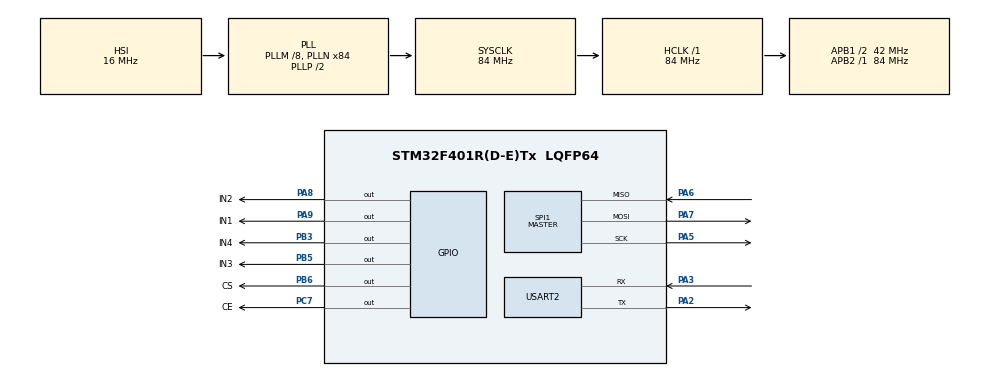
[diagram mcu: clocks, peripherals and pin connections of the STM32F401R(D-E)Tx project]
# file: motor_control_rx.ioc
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Mcu.Family=STM32F4
Mcu.Name=STM32F401R(D-E)Tx
Mcu.Package=LQFP64
NVIC.PriorityGroup=NVIC_PRIORITYGROUP_4
PA2.Mode=Asynchronous
PA2.Signal=USART2_TX
PA3.Mode=Asynchronous
PA3.Signal=USART2_RX
PA5.Mode=Full_Duplex_Master
PA5.Signal=SPI1_SCK
PA6.Mode=Full_Duplex_Master
PA6.Signal=SPI1_MISO
PA7.Mode=Full_Duplex_Master
PA7.Signal=SPI1_MOSI
PA8.GPIO_Label=IN2
PA8.Signal=GPIO_Output
PA9.GPIO_Label=IN1
PA9.Signal=GPIO_Output
PB3.GPIO_Label=IN4
PB3.Signal=GPIO_Output
PB5.GPIO_Label=IN3
PB5.Signal=GPIO_Output
PB6.GPIO_Label=CS
PB6.PinState=GPIO_PIN_SET
PB6.Signal=GPIO_Output
PC7.GPIO_Label=CE
PC7.Signal=GPIO_Output
ProjectManager.HeapSize=0x200
ProjectManager.StackSize=0x400
ProjectManager.TargetToolchain=STM32CubeIDE
RCC.48MHZClocksFreq_Value=42000000
RCC.AHBFreq_Value=84000000
RCC.APB1CLKDivider=RCC_HCLK_DIV2
RCC.APB1Freq_Value=42000000
RCC.APB1TimFreq_Value=84000000
RCC.APB2Freq_Value=84000000
RCC.APB2TimFreq_Value=84000000
RCC.CortexFreq_Value=84000000
RCC.HCLKFreq_Value=84000000
RCC.HSE_VALUE=25000000
RCC.HSI_VALUE=16000000
RCC.LSE_VALUE=32768
RCC.PLLM=8
RCC.PLLN=84
RCC.SYSCLKFreq_VALUE=84000000
RCC.SYSCLKSource=RCC_SYSCLKSOURCE_PLLCLK
RCC.VCOOutputFreq_Value=168000000
SPI1.BaudRatePrescaler=SPI_BAUDRATEPRESCALER_16
SPI1.Direction=SPI_DIRECTION_2LINES
SPI1.Mode=SPI_MODE_MASTER
SPI1.VirtualType=VM_MASTER
USART2.VirtualMode=VM_ASYNC
board=custom

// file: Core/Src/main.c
/* USER CODE BEGIN Header */
/**
  ******************************************************************************
  * @file           : main.c
  * @brief          : Main program body
  ******************************************************************************
  * @attention
  *
  * This program is setup to receive the joystick X and Y coordinates from the motor
  * control tx project. The coordinates will determine which direction(forward or reverse)
  * to set the motors in.
  *
  * Copyright (c) 2025 STMicroelectronics.
  * All rights reserved.
  *
  * This software is licensed under terms that can be found in the LICENSE file
  * in the root directory of this software component.
  * If no LICENSE file comes with this software, it is provided AS-IS.
  *
  ******************************************************************************
  */
/* USER CODE END Header */
#include "main.h"

/* USER CODE BEGIN Includes */
#include "../../../../lib/motor_control/NRF24L01.h"
#include "string.h"
#include "stdio.h"
/* USER CODE END Includes */

SPI_HandleTypeDef hspi1;

UART_HandleTypeDef huart2;

void SystemClock_Config(void);
static void MX_GPIO_Init(void);
static void MX_SPI1_Init(void);
static void MX_USART2_UART_Init(void);

/* USER CODE BEGIN 0 */

#define JOYSTICK_IN1_PORT GPIOA
#define JOYSTICK_IN1_PIN  GPIO_PIN_9
#define JOYSTICK_IN2_PORT GPIOA
#define JOYSTICK_IN2_PIN  GPIO_PIN_8
#define JOYSTICK_IN3_PORT GPIOB
#define JOYSTICK_IN3_PIN  GPIO_PIN_5
#define JOYSTICK_IN4_PORT GPIOB
#define JOYSTICK_IN4_PIN  GPIO_PIN_3

uint8_t rx_addr[] = {0xEE, 0xDD, 0xCC, 0xBB, 0xAA};
uint8_t rx_data[32];
char coordinate_arr[100];
uint8_t x_coordinate_val = 0;
uint8_t y_coordinate_val = 0;
uint8_t xy_coordinate_val[2];

// This function receives the x and y coordinates from the NRF24L01 rx module
// and assigns it to a  variable. This variable is later used to set the direction
// in the direction function
void joystick_coordiantes_rx()
{
          if (data_available(1)==1)
          {
              rx(rx_data);

              //rx buffer has the x data on the 0th element and y data on the 4th element due to a
              //conversion from uint32_t to uint8_t in the motor_control tx project
              xy_coordinate_val[0] = rx_data[0];
              xy_coordinate_val[1] = rx_data[4];

              //Used to debug and verify the correct coordinates are being transmitted to the NRF24L01 Receiver
              sprintf(coordinate_arr,  "\rX-Coordinate: %d Y-Coordinate: %d \n", xy_coordinate_val[0],xy_coordinate_val[1]);
              HAL_UART_Transmit(&huart2, (uint8_t*)coordinate_arr, 50, 1000);
          }
}

//This function sets both motors in the forward direction
void forward(uint8_t y_coordinate_val)
{
    //check if were still moving in the same direction
    while(y_coordinate_val < 100)
    {
        HAL_GPIO_WritePin (JOYSTICK_IN1_PORT, JOYSTICK_IN1_PIN, 1);
        HAL_GPIO_WritePin (JOYSTICK_IN2_PORT, JOYSTICK_IN2_PIN, 0);
        HAL_GPIO_WritePin (JOYSTICK_IN3_PORT, JOYSTICK_IN3_PIN, 1);
        HAL_GPIO_WritePin (JOYSTICK_IN4_PORT, JOYSTICK_IN4_PIN, 0);

        //assigns xy_coordinate_val array to a new set of x and y coordinates from the RF module
        joystick_coordiantes_rx();

        //update y variable to use the most updated joystick value
        y_coordinate_val = xy_coordinate_val[1];
    }
}

//This function sets both motors in the reverse direction
void reverse(uint8_t y_coordinate_val)
{
    //check if were still moving in the same direction
    while(y_coordinate_val > 160)
    {
        HAL_GPIO_WritePin (JOYSTICK_IN1_PORT, JOYSTICK_IN1_PIN, 0);
        HAL_GPIO_WritePin (JOYSTICK_IN2_PORT, JOYSTICK_IN2_PIN, 1);
        HAL_GPIO_WritePin (JOYSTICK_IN3_PORT, JOYSTICK_IN3_PIN, 0);
        HAL_GPIO_WritePin (JOYSTICK_IN4_PORT, JOYSTICK_IN4_PIN, 1);

        //assigns xy_coordinate_val array to a new set of x and y coordinates from the RF module
        joystick_coordiantes_rx();

        //update y variable to use the most updated joystick value
        y_coordinate_val = xy_coordinate_val[1];
    }
}

//This function sets the left motor in the forward direction and turns the right motor off
void clockwise(uint8_t x_coordinate_val)
{
    //check if were still moving in the same direction
    while(x_coordinate_val > 160)
    {
        HAL_GPIO_WritePin (JOYSTICK_IN1_PORT, JOYSTICK_IN1_PIN, 1);
        HAL_GPIO_WritePin (JOYSTICK_IN2_PORT, JOYSTICK_IN2_PIN, 0);
        HAL_GPIO_WritePin (JOYSTICK_IN3_PORT, JOYSTICK_IN3_PIN, 0);
        HAL_GPIO_WritePin (JOYSTICK_IN4_PORT, JOYSTICK_IN4_PIN, 0);

        //assigns xy_coordinate_val array to a new set of x and y coordinates from the RF module
        joystick_coordiantes_rx();

        //update y variable to use the most updated joystick value
        x_coordinate_val = xy_coordinate_val[0];
    }
}

//This function sets the right motor in the forward direction and turns the left motor off
void counter_clockwise(uint8_t x_coordinate_val)
{
    //check if were still moving in the same direction
    while(x_coordinate_val < 100)
    {
        HAL_GPIO_WritePin (JOYSTICK_IN1_PORT, JOYSTICK_IN1_PIN, 0);
        HAL_GPIO_WritePin (JOYSTICK_IN2_PORT, JOYSTICK_IN2_PIN, 0);
        HAL_GPIO_WritePin (JOYSTICK_IN3_PORT, JOYSTICK_IN3_PIN, 1);
        HAL_GPIO_WritePin (JOYSTICK_IN4_PORT, JOYSTICK_IN4_PIN, 0);

        //assigns xy_coordinate_val array to a new set of x and y coordinates from the RF module
        joystick_coordiantes_rx();

        //update y variable to use the most updated joystick value
        x_coordinate_val = xy_coordinate_val[0];
    }
}

//turn both motors off
void no_move()
{
        HAL_GPIO_WritePin (JOYSTICK_IN1_PORT, JOYSTICK_IN1_PIN, 0);
        HAL_GPIO_WritePin (JOYSTICK_IN2_PORT, JOYSTICK_IN2_PIN, 0);
        HAL_GPIO_WritePin (JOYSTICK_IN3_PORT, JOYSTICK_IN3_PIN, 0);
        HAL_GPIO_WritePin (JOYSTICK_IN4_PORT, JOYSTICK_IN4_PIN, 0);
}

//This function will execute a specific direction function for the motors
//based on the updated x and y coordinate values
void direction()
{

    while(1){

        joystick_coordiantes_rx();

        x_coordinate_val = xy_coordinate_val[0];
        y_coordinate_val = xy_coordinate_val[1];

        if (y_coordinate_val < 100)
        {
            forward(y_coordinate_val);
        }
        else if (y_coordinate_val > 160)
        {
            reverse(y_coordinate_val);
        }
        else if (x_coordinate_val >160)
        {
            clockwise(x_coordinate_val);
        }

        else if (x_coordinate_val <100)
        {
            counter_clockwise(x_coordinate_val);
        }

        else
        {
            no_move();
        }
    }

}

/* USER CODE END 0 */

int main(void)
{

  /* USER CODE BEGIN 1 */
//  uint8_t xy_coordinate_val[2];

  /* USER CODE END 1 */

  /* MCU Configuration--------------------------------------------------------*/

  /* Reset of all peripherals, Initializes the Flash interface and the Systick. */
  HAL_Init();

  /* Configure the system clock */
  SystemClock_Config();

  /* Initialize all configured peripherals */
  MX_GPIO_Init();
  MX_SPI1_Init();
  MX_USART2_UART_Init();
  /* USER CODE BEGIN 2 */
  nrf24_init();
  setup_rx_mode(rx_addr, 100);
  HAL_Delay (1000);

  /* USER CODE END 2 */

  /* Infinite loop */
  while (1)
  {

    /* USER CODE BEGIN 3 */
      direction();
  }
  /* USER CODE END 3 */
}

void SystemClock_Config(void)
{
  RCC_OscInitTypeDef RCC_OscInitStruct = {0};
  RCC_ClkInitTypeDef RCC_ClkInitStruct = {0};

  /** Configure the main internal regulator output voltage
  */
  __HAL_RCC_PWR_CLK_ENABLE();
  __HAL_PWR_VOLTAGESCALING_CONFIG(PWR_REGULATOR_VOLTAGE_SCALE2);

  /** Initializes the RCC Oscillators according to the specified parameters
  * in the RCC_OscInitTypeDef structure.
  */
  RCC_OscInitStruct.OscillatorType = RCC_OSCILLATORTYPE_HSI;
  RCC_OscInitStruct.HSIState = RCC_HSI_ON;
  RCC_OscInitStruct.HSICalibrationValue = RCC_HSICALIBRATION_DEFAULT;
  RCC_OscInitStruct.PLL.PLLState = RCC_PLL_ON;
  RCC_OscInitStruct.PLL.PLLSource = RCC_PLLSOURCE_HSI;
  RCC_OscInitStruct.PLL.PLLM = 8;
  RCC_OscInitStruct.PLL.PLLN = 84;
  RCC_OscInitStruct.PLL.PLLP = RCC_PLLP_DIV2;
  RCC_OscInitStruct.PLL.PLLQ = 4;
  if (HAL_RCC_OscConfig(&RCC_OscInitStruct) != HAL_OK)
  {
    Error_Handler();
  }

  /** Initializes the CPU, AHB and APB buses clocks
  */
  RCC_ClkInitStruct.ClockType = RCC_CLOCKTYPE_HCLK|RCC_CLOCKTYPE_SYSCLK
                              |RCC_CLOCKTYPE_PCLK1|RCC_CLOCKTYPE_PCLK2;
  RCC_ClkInitStruct.SYSCLKSource = RCC_SYSCLKSOURCE_PLLCLK;
  RCC_ClkInitStruct.AHBCLKDivider = RCC_SYSCLK_DIV1;
  RCC_ClkInitStruct.APB1CLKDivider = RCC_HCLK_DIV2;
  RCC_ClkInitStruct.APB2CLKDivider = RCC_HCLK_DIV1;

  if (HAL_RCC_ClockConfig(&RCC_ClkInitStruct, FLASH_LATENCY_2) != HAL_OK)
  {
    Error_Handler();
  }
}

static void MX_SPI1_Init(void)
{

  /* SPI1 parameter configuration*/
  hspi1.Instance = SPI1;
  hspi1.Init.Mode = SPI_MODE_MASTER;
  hspi1.Init.Direction = SPI_DIRECTION_2LINES;
  hspi1.Init.DataSize = SPI_DATASIZE_8BIT;
  hspi1.Init.CLKPolarity = SPI_POLARITY_LOW;
  hspi1.Init.CLKPhase = SPI_PHASE_1EDGE;
  hspi1.Init.NSS = SPI_NSS_SOFT;
  hspi1.Init.BaudRatePrescaler = SPI_BAUDRATEPRESCALER_16;
  hspi1.Init.FirstBit = SPI_FIRSTBIT_MSB;
  hspi1.Init.TIMode = SPI_TIMODE_DISABLE;
  hspi1.Init.CRCCalculation = SPI_CRCCALCULATION_DISABLE;
  hspi1.Init.CRCPolynomial = 10;
  if (HAL_SPI_Init(&hspi1) != HAL_OK)
  {
    Error_Handler();
  }

}

static void MX_USART2_UART_Init(void)
{

  huart2.Instance = USART2;
  huart2.Init.BaudRate = 115200;
  huart2.Init.WordLength = UART_WORDLENGTH_8B;
  huart2.Init.StopBits = UART_STOPBITS_1;
  huart2.Init.Parity = UART_PARITY_NONE;
  huart2.Init.Mode = UART_MODE_TX_RX;
  huart2.Init.HwFlowCtl = UART_HWCONTROL_NONE;
  huart2.Init.OverSampling = UART_OVERSAMPLING_16;
  if (HAL_UART_Init(&huart2) != HAL_OK)
  {
    Error_Handler();
  }

}

static void MX_GPIO_Init(void)
{
  GPIO_InitTypeDef GPIO_InitStruct = {0};

  /* GPIO Ports Clock Enable */
  __HAL_RCC_GPIOA_CLK_ENABLE();
  __HAL_RCC_GPIOC_CLK_ENABLE();
  __HAL_RCC_GPIOB_CLK_ENABLE();

  /*Configure GPIO pin Output Level */
  HAL_GPIO_WritePin(CE_GPIO_Port, CE_Pin, GPIO_PIN_RESET);

  /*Configure GPIO pin Output Level */
  HAL_GPIO_WritePin(GPIOA, IN2_Pin|IN1_Pin, GPIO_PIN_RESET);

  /*Configure GPIO pin Output Level */
  HAL_GPIO_WritePin(GPIOB, IN4_Pin|IN3_Pin, GPIO_PIN_RESET);

  /*Configure GPIO pin Output Level */
  HAL_GPIO_WritePin(CS_GPIO_Port, CS_Pin, GPIO_PIN_SET);

  /*Configure GPIO pin : CE_Pin */
  GPIO_InitStruct.Pin = CE_Pin;
  GPIO_InitStruct.Mode = GPIO_MODE_OUTPUT_PP;
  GPIO_InitStruct.Pull = GPIO_NOPULL;
  GPIO_InitStruct.Speed = GPIO_SPEED_FREQ_LOW;
  HAL_GPIO_Init(CE_GPIO_Port, &GPIO_InitStruct);

  /*Configure GPIO pins : IN2_Pin IN1_Pin */
  GPIO_InitStruct.Pin = IN2_Pin|IN1_Pin;
  GPIO_InitStruct.Mode = GPIO_MODE_OUTPUT_PP;
  GPIO_InitStruct.Pull = GPIO_NOPULL;
  GPIO_InitStruct.Speed = GPIO_SPEED_FREQ_LOW;
  HAL_GPIO_Init(GPIOA, &GPIO_InitStruct);

  /*Configure GPIO pins : IN4_Pin IN3_Pin CS_Pin */
  GPIO_InitStruct.Pin = IN4_Pin|IN3_Pin|CS_Pin;
  GPIO_InitStruct.Mode = GPIO_MODE_OUTPUT_PP;
  GPIO_InitStruct.Pull = GPIO_NOPULL;
  GPIO_InitStruct.Speed = GPIO_SPEED_FREQ_LOW;
  HAL_GPIO_Init(GPIOB, &GPIO_InitStruct);

}

void Error_Handler(void)
{
  __disable_irq();
  while (1)
  {
  }
}
